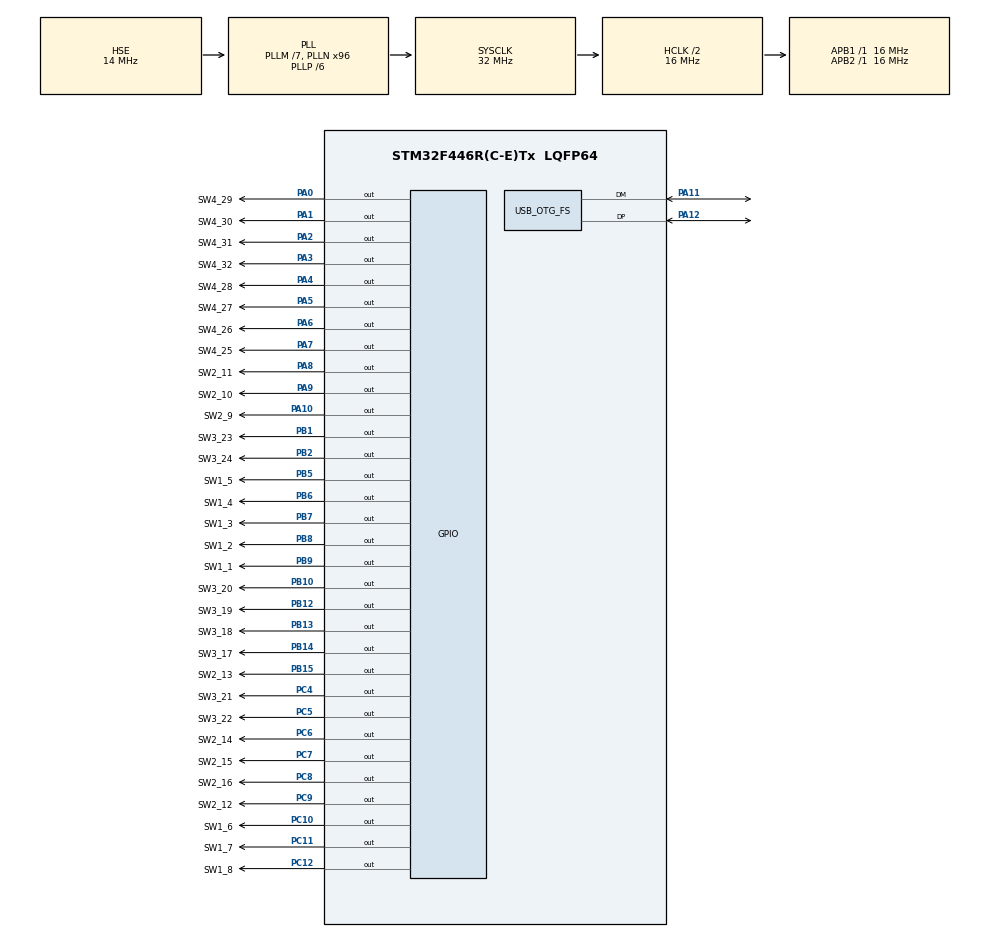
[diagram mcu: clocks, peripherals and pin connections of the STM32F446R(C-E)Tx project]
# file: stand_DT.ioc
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Mcu.Family=STM32F4
Mcu.Name=STM32F446R(C-E)Tx
Mcu.Package=LQFP64
NVIC.OTG_FS_IRQn=true\:0\:0\:false\:false\:true\:false\:true\:true
NVIC.PriorityGroup=NVIC_PRIORITYGROUP_4
PA0-WKUP.GPIO_Label=SW4_29
PA0-WKUP.Signal=GPIO_Output
PA1.GPIO_Label=SW4_30
PA1.Signal=GPIO_Output
PA10.GPIO_Label=SW2_9
PA10.Signal=GPIO_Output
PA11.Mode=Device_Only
PA11.Signal=USB_OTG_FS_DM
PA12.Mode=Device_Only
PA12.Signal=USB_OTG_FS_DP
PA13.Mode=JTAG_5_pins
PA13.Signal=SYS_JTMS-SWDIO
PA14.Mode=JTAG_5_pins
PA14.Signal=SYS_JTCK-SWCLK
PA15.Mode=JTAG_5_pins
PA15.Signal=SYS_JTDI
PA2.GPIO_Label=SW4_31
PA2.Signal=GPIO_Output
PA3.GPIO_Label=SW4_32
PA3.Signal=GPIO_Output
PA4.GPIO_Label=SW4_28
PA4.Signal=GPIO_Output
PA5.GPIO_Label=SW4_27
PA5.Signal=GPIO_Output
PA6.GPIO_Label=SW4_26
PA6.Signal=GPIO_Output
PA7.GPIO_Label=SW4_25
PA7.Signal=GPIO_Output
PA8.GPIO_Label=SW2_11
PA8.Signal=GPIO_Output
PA9.GPIO_Label=SW2_10
PA9.Signal=GPIO_Output
PB1.GPIO_Label=SW3_23
PB1.Signal=GPIO_Output
PB10.GPIO_Label=SW3_20
PB10.Signal=GPIO_Output
PB12.GPIO_Label=SW3_19
PB12.Signal=GPIO_Output
PB13.GPIO_Label=SW3_18
PB13.Signal=GPIO_Output
PB14.GPIO_Label=SW3_17
PB14.Signal=GPIO_Output
PB15.GPIO_Label=SW2_13
PB15.Signal=GPIO_Output
PB2.GPIO_Label=SW3_24
PB2.Signal=GPIO_Output
PB3.Mode=JTAG_5_pins
PB3.Signal=SYS_JTDO-SWO
PB4.Mode=JTAG_5_pins
PB4.Signal=SYS_JTRST
PB5.GPIO_Label=SW1_5
PB5.Signal=GPIO_Output
PB6.GPIO_Label=SW1_4
PB6.Signal=GPIO_Output
PB7.GPIO_Label=SW1_3
PB7.Signal=GPIO_Output
PB8.GPIO_Label=SW1_2
PB8.Signal=GPIO_Output
PB9.GPIO_Label=SW1_1
PB9.Signal=GPIO_Output
PC10.GPIO_Label=SW1_6
PC10.Signal=GPIO_Output
PC11.GPIO_Label=SW1_7
PC11.Signal=GPIO_Output
PC12.GPIO_Label=SW1_8
PC12.Signal=GPIO_Output
PC4.GPIO_Label=SW3_21
PC4.Signal=GPIO_Output
PC5.GPIO_Label=SW3_22
PC5.Signal=GPIO_Output
PC6.GPIO_Label=SW2_14
PC6.Signal=GPIO_Output
PC7.GPIO_Label=SW2_15
PC7.Signal=GPIO_Output
PC8.GPIO_Label=SW2_16
PC8.Signal=GPIO_Output
PC9.GPIO_Label=SW2_12
PC9.Signal=GPIO_Output
PH0-OSC_IN.Mode=HSE-External-Oscillator
PH0-OSC_IN.Signal=RCC_OSC_IN
PH1-OSC_OUT.Mode=HSE-External-Oscillator
PH1-OSC_OUT.Signal=RCC_OSC_OUT
ProjectManager.HeapSize=0x200
ProjectManager.StackSize=0x400
ProjectManager.TargetToolchain=STM32CubeIDE
RCC.AHBCLKDivider=RCC_SYSCLK_DIV2
RCC.AHBFreq_Value=16000000
RCC.APB1Freq_Value=16000000
RCC.APB1TimFreq_Value=16000000
RCC.APB2Freq_Value=16000000
RCC.APB2TimFreq_Value=16000000
RCC.CortexFreq_Value=16000000
RCC.HCLKFreq_Value=16000000
RCC.HSE_VALUE=14000000
RCC.PLLM=7
RCC.PLLN=96
RCC.PLLP=RCC_PLLP_DIV6
RCC.PLLQ=4
RCC.SYSCLKFreq_VALUE=32000000
RCC.SYSCLKSource=RCC_SYSCLKSOURCE_PLLCLK
RCC.USBFreq_Value=48000000
RCC.VCOOutputFreq_Value=192000000
USB_DEVICE.CLASS_NAME_FS=CDC
USB_DEVICE.VirtualMode-CDC_FS=Cdc
USB_DEVICE.VirtualModeFS=Cdc_FS
USB_OTG_FS.VirtualMode=Device_Only
VP_USB_DEVICE_VS_USB_DEVICE_CDC_FS.Mode=CDC_FS
board=custom

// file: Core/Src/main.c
/* USER CODE BEGIN Header */
/**
  ******************************************************************************
  * @file           : main.c
  * @brief          : Main program body
  ******************************************************************************
  * @attention
  *
  * Copyright (c) 2024 STMicroelectronics.
  * All rights reserved.
  *
  * This software is licensed under terms that can be found in the LICENSE file
  * in the root directory of this software component.
  * If no LICENSE file comes with this software, it is provided AS-IS.
  *
  ******************************************************************************
  */
/* USER CODE END Header */
#include "main.h"
#include "usb_device.h"
#include "gpio.h"

/* USER CODE BEGIN Includes */
#include "usbd_cdc_if.h"
/* USER CODE END Includes */

/* USER CODE BEGIN PV */
// ответ на запрос
uint8_t ID[2]={0xBB, 0x0A};

// ответ на команду включения, что мы не зависли и отвечаем
uint8_t ANTWORT[2]={0xEE, 0x0A};
uint8_t ANTWORT_DT[2]={0xCC, 0x0A};

// входной буфер
uint8_t RxData[1] = {0};

// масссив для формирования выхода
uint32_t out_state[32] = {0};

//struct point center = {0};
//union code n;
void Reset_all_outs(void);
/* USER CODE END PV */

void SystemClock_Config(void);

/* USER CODE BEGIN 0 */
// отключение адресных выходов для всех мультиплексоров
void Reset_all_outs(void)
{
	HAL_GPIO_WritePin(SW1_1_GPIO_Port, SW1_1_Pin, GPIO_PIN_RESET);
	HAL_GPIO_WritePin(SW1_2_GPIO_Port, SW1_2_Pin, GPIO_PIN_RESET);
	HAL_GPIO_WritePin(SW1_3_GPIO_Port, SW1_3_Pin, GPIO_PIN_RESET);
	HAL_GPIO_WritePin(SW1_4_GPIO_Port, SW1_4_Pin, GPIO_PIN_RESET);
	HAL_GPIO_WritePin(SW1_5_GPIO_Port, SW1_5_Pin, GPIO_PIN_RESET);
	HAL_GPIO_WritePin(SW1_6_GPIO_Port, SW1_6_Pin, GPIO_PIN_RESET);
	HAL_GPIO_WritePin(SW1_7_GPIO_Port, SW1_7_Pin, GPIO_PIN_RESET);
	HAL_GPIO_WritePin(SW1_8_GPIO_Port, SW1_8_Pin, GPIO_PIN_RESET);
	HAL_GPIO_WritePin(SW2_9_GPIO_Port, SW2_9_Pin, GPIO_PIN_RESET);
	HAL_GPIO_WritePin(SW2_10_GPIO_Port, SW2_10_Pin, GPIO_PIN_RESET);
	HAL_GPIO_WritePin(SW2_11_GPIO_Port, SW2_11_Pin, GPIO_PIN_RESET);
	HAL_GPIO_WritePin(SW2_12_GPIO_Port, SW2_12_Pin, GPIO_PIN_RESET);
	HAL_GPIO_WritePin(SW2_13_GPIO_Port, SW2_13_Pin, GPIO_PIN_RESET);
	HAL_GPIO_WritePin(SW2_14_GPIO_Port, SW2_14_Pin, GPIO_PIN_RESET);
	HAL_GPIO_WritePin(SW2_15_GPIO_Port, SW2_15_Pin, GPIO_PIN_RESET);
	HAL_GPIO_WritePin(SW2_16_GPIO_Port, SW2_16_Pin, GPIO_PIN_RESET);
	HAL_GPIO_WritePin(SW3_17_GPIO_Port, SW3_17_Pin, GPIO_PIN_RESET);
	HAL_GPIO_WritePin(SW3_18_GPIO_Port, SW3_18_Pin, GPIO_PIN_RESET);
	HAL_GPIO_WritePin(SW3_19_GPIO_Port, SW3_19_Pin, GPIO_PIN_RESET);
	HAL_GPIO_WritePin(SW3_20_GPIO_Port, SW3_20_Pin, GPIO_PIN_RESET);
	HAL_GPIO_WritePin(SW3_21_GPIO_Port, SW3_21_Pin, GPIO_PIN_RESET);
	HAL_GPIO_WritePin(SW3_22_GPIO_Port, SW3_22_Pin, GPIO_PIN_RESET);
	HAL_GPIO_WritePin(SW3_23_GPIO_Port, SW3_23_Pin, GPIO_PIN_RESET);
	HAL_GPIO_WritePin(SW3_24_GPIO_Port, SW3_24_Pin, GPIO_PIN_RESET);
	HAL_GPIO_WritePin(SW4_25_GPIO_Port, SW4_25_Pin, GPIO_PIN_RESET);
	HAL_GPIO_WritePin(SW4_26_GPIO_Port, SW4_26_Pin, GPIO_PIN_RESET);
	HAL_GPIO_WritePin(SW4_27_GPIO_Port, SW4_27_Pin, GPIO_PIN_RESET);
	HAL_GPIO_WritePin(SW4_28_GPIO_Port, SW4_28_Pin, GPIO_PIN_RESET);
	HAL_GPIO_WritePin(SW4_29_GPIO_Port, SW4_29_Pin, GPIO_PIN_RESET);
	HAL_GPIO_WritePin(SW4_30_GPIO_Port, SW4_30_Pin, GPIO_PIN_RESET);
	HAL_GPIO_WritePin(SW4_31_GPIO_Port, SW4_31_Pin, GPIO_PIN_RESET);
	HAL_GPIO_WritePin(SW4_32_GPIO_Port, SW4_32_Pin, GPIO_PIN_RESET);

	HAL_Delay(100);
};

/* USER CODE END 0 */

int main(void)
{

  /* MCU Configuration--------------------------------------------------------*/

  /* Reset of all peripherals, Initializes the Flash interface and the Systick. */
  HAL_Init();

  /* Configure the system clock */
  SystemClock_Config();

  /* Initialize all configured peripherals */
  MX_GPIO_Init();
  MX_USB_DEVICE_Init();
  /* USER CODE BEGIN 2 */
  Reset_all_outs();
  /* USER CODE END 2 */

  /* Infinite loop */
  while (1)
  {

    /* USER CODE BEGIN 3 */

  	  //обработка запроса
  	  CDC_Receive_FS(RxData, 1);

	  switch(RxData[0])
	  {
		  case 1:
			  Reset_all_outs();
	  			HAL_GPIO_WritePin(SW1_1_GPIO_Port, SW1_1_Pin, GPIO_PIN_SET);
	  			CDC_Transmit_FS(ANTWORT_DT, 2);
	  			RxData[0] = 0x00;
			break;
		  case 2:
			  Reset_all_outs();
	  			HAL_GPIO_WritePin(SW1_2_GPIO_Port, SW1_2_Pin, GPIO_PIN_SET);
	  			CDC_Transmit_FS(ANTWORT_DT, 2);
	  			RxData[0] = 0x00;
			break;
		  case 3:
			  Reset_all_outs();
	  			HAL_GPIO_WritePin(SW1_3_GPIO_Port, SW1_3_Pin, GPIO_PIN_SET);
	  			CDC_Transmit_FS(ANTWORT_DT, 2);
	  			RxData[0] = 0x00;
			break;
		  case 4:
			  Reset_all_outs();
	  			HAL_GPIO_WritePin(SW1_4_GPIO_Port, SW1_4_Pin, GPIO_PIN_SET);
	  			CDC_Transmit_FS(ANTWORT_DT, 2);
	  			RxData[0] = 0x00;
			break;
		  case 5:
			  Reset_all_outs();
	  			HAL_GPIO_WritePin(SW1_5_GPIO_Port, SW1_5_Pin, GPIO_PIN_SET);
	  			CDC_Transmit_FS(ANTWORT_DT, 2);
	  			RxData[0] = 0x00;
			break;
		  case 6:
			  Reset_all_outs();
	  			HAL_GPIO_WritePin(SW1_6_GPIO_Port, SW1_6_Pin, GPIO_PIN_SET);
	  			CDC_Transmit_FS(ANTWORT_DT, 2);
	  			RxData[0] = 0x00;
			break;
		  case 7:
			  Reset_all_outs();
	  			HAL_GPIO_WritePin(SW1_7_GPIO_Port, SW1_7_Pin, GPIO_PIN_SET);
	  			CDC_Transmit_FS(ANTWORT_DT, 2);
	  			RxData[0] = 0x00;
			break;
		  case 8:
			  Reset_all_outs();
	  			HAL_GPIO_WritePin(SW1_8_GPIO_Port, SW1_8_Pin, GPIO_PIN_SET);
	  			CDC_Transmit_FS(ANTWORT_DT, 2);
	  			RxData[0] = 0x00;
			break;
		  case 9:
			  Reset_all_outs();
	  			HAL_GPIO_WritePin(SW2_9_GPIO_Port, SW2_9_Pin, GPIO_PIN_SET);
	  			CDC_Transmit_FS(ANTWORT_DT, 2);
	  			RxData[0] = 0x00;
			break;
		  case 10:
			  Reset_all_outs();
	  			HAL_GPIO_WritePin(SW2_10_GPIO_Port, SW2_10_Pin, GPIO_PIN_SET);
	  			CDC_Transmit_FS(ANTWORT_DT, 2);
	  			RxData[0] = 0x00;
			break;
		  case 11:
			  Reset_all_outs();
	  			HAL_GPIO_WritePin(SW2_11_GPIO_Port, SW2_11_Pin, GPIO_PIN_SET);
	  			CDC_Transmit_FS(ANTWORT_DT, 2);
	  			RxData[0] = 0x00;
			break;
		  case 12:
			  Reset_all_outs();
	  			HAL_GPIO_WritePin(SW2_12_GPIO_Port, SW2_12_Pin, GPIO_PIN_SET);
	  			CDC_Transmit_FS(ANTWORT_DT, 2);
	  			RxData[0] = 0x00;
			break;
		  case 13:
			  Reset_all_outs();
	  			HAL_GPIO_WritePin(SW2_13_GPIO_Port, SW2_13_Pin, GPIO_PIN_SET);
	  			CDC_Transmit_FS(ANTWORT_DT, 2);
	  			RxData[0] = 0x00;
			break;
		  case 14:
			  Reset_all_outs();
	  			HAL_GPIO_WritePin(SW2_14_GPIO_Port, SW2_14_Pin, GPIO_PIN_SET);
	  			CDC_Transmit_FS(ANTWORT_DT, 2);
	  			RxData[0] = 0x00;
			break;
		  case 15:
			  Reset_all_outs();
	  			HAL_GPIO_WritePin(SW2_15_GPIO_Port, SW2_15_Pin, GPIO_PIN_SET);
	  			CDC_Transmit_FS(ANTWORT_DT, 2);
	  			RxData[0] = 0x00;
			break;
		  case 16:
			  Reset_all_outs();
	  			HAL_GPIO_WritePin(SW2_16_GPIO_Port, SW2_16_Pin, GPIO_PIN_SET);
	  			CDC_Transmit_FS(ANTWORT_DT, 2);
	  			RxData[0] = 0x00;
			break;
		  case 17:
			  Reset_all_outs();
	  			HAL_GPIO_WritePin(SW3_17_GPIO_Port, SW3_17_Pin, GPIO_PIN_SET);
	  			CDC_Transmit_FS(ANTWORT_DT, 2);
	  			RxData[0] = 0x00;
			break;
		  case 18:
			  Reset_all_outs();
	  			HAL_GPIO_WritePin(SW3_18_GPIO_Port, SW3_18_Pin, GPIO_PIN_SET);
	  			CDC_Transmit_FS(ANTWORT_DT, 2);
	  			RxData[0] = 0x00;
			break;
		  case 19:
			  Reset_all_outs();
	  			HAL_GPIO_WritePin(SW3_19_GPIO_Port, SW3_19_Pin, GPIO_PIN_SET);
	  			CDC_Transmit_FS(ANTWORT_DT, 2);
	  			RxData[0] = 0x00;
			break;
		  case 20:
			  Reset_all_outs();
	  			HAL_GPIO_WritePin(SW3_20_GPIO_Port, SW3_20_Pin, GPIO_PIN_SET);
	  			CDC_Transmit_FS(ANTWORT_DT, 2);
	  			RxData[0] = 0x00;
			break;
		  case 21:
			  Reset_all_outs();
	  			HAL_GPIO_WritePin(SW3_21_GPIO_Port, SW3_21_Pin, GPIO_PIN_SET);
	  			CDC_Transmit_FS(ANTWORT_DT, 2);
	  			RxData[0] = 0x00;
			break;
		  case 22:
			  Reset_all_outs();
	  			HAL_GPIO_WritePin(SW3_22_GPIO_Port, SW3_22_Pin, GPIO_PIN_SET);
	  			CDC_Transmit_FS(ANTWORT_DT, 2);
	  			RxData[0] = 0x00;
			break;
		  case 23:
			  Reset_all_outs();
	  			HAL_GPIO_WritePin(SW3_23_GPIO_Port, SW3_23_Pin, GPIO_PIN_SET);
	  			CDC_Transmit_FS(ANTWORT_DT, 2);
	  			RxData[0] = 0x00;
			break;
		  case 24:
			  Reset_all_outs();
	  			HAL_GPIO_WritePin(SW3_24_GPIO_Port, SW3_24_Pin, GPIO_PIN_SET);
	  			CDC_Transmit_FS(ANTWORT_DT, 2);
	  			RxData[0] = 0x00;
			break;
		  case 25:
			  Reset_all_outs();
	  			HAL_GPIO_WritePin(SW4_25_GPIO_Port, SW4_25_Pin, GPIO_PIN_SET);
	  			CDC_Transmit_FS(ANTWORT_DT, 2);
	  			RxData[0] = 0x00;
			break;
		  case 26:
			  Reset_all_outs();
	  			HAL_GPIO_WritePin(SW4_26_GPIO_Port, SW4_26_Pin, GPIO_PIN_SET);
	  			CDC_Transmit_FS(ANTWORT_DT, 2);
	  			RxData[0] = 0x00;
			break;
		  case 27:
			  Reset_all_outs();
	  			HAL_GPIO_WritePin(SW4_27_GPIO_Port, SW4_27_Pin, GPIO_PIN_SET);
	  			CDC_Transmit_FS(ANTWORT_DT, 2);
	  			RxData[0] = 0x00;
			break;
		  case 28:
			  Reset_all_outs();
	  			HAL_GPIO_WritePin(SW4_28_GPIO_Port, SW4_28_Pin, GPIO_PIN_SET);
	  			CDC_Transmit_FS(ANTWORT_DT, 2);
	  			RxData[0] = 0x00;
			break;
		  case 29:
			  Reset_all_outs();
	  			HAL_GPIO_WritePin(SW4_29_GPIO_Port, SW4_29_Pin, GPIO_PIN_SET);
	  			CDC_Transmit_FS(ANTWORT_DT, 2);
	  			RxData[0] = 0x00;
			break;
		  case 30:
			  Reset_all_outs();
	  			HAL_GPIO_WritePin(SW4_30_GPIO_Port, SW4_30_Pin, GPIO_PIN_SET);
	  			CDC_Transmit_FS(ANTWORT_DT, 2);
	  			RxData[0] = 0x00;
			break;
		  case 31:
			  Reset_all_outs();
	  			HAL_GPIO_WritePin(SW4_31_GPIO_Port, SW4_31_Pin, GPIO_PIN_SET);
	  			CDC_Transmit_FS(ANTWORT_DT, 2);
	  			RxData[0] = 0x00;
			break;
		  case 32:
			  Reset_all_outs();
	  			HAL_GPIO_WritePin(SW4_32_GPIO_Port, SW4_32_Pin, GPIO_PIN_SET);
	  			CDC_Transmit_FS(ANTWORT_DT, 2);
	  			RxData[0] = 0x00;
			break;

		case 170: //запрос опознания, отвечаем на это 0xBB
			CDC_Transmit_FS(ID, 2);
			RxData[0] = 0x00;
			break;
		case 0xFF: //команда полной остановки
			Reset_all_outs();
			CDC_Transmit_FS(ANTWORT, 2);
			RxData[0] = 0x00;
			break;
		default:
			;
			break;
	  }
  	  HAL_Delay(10);

  /*

  HAL_Delay(100);
  HAL_GPIO_TogglePin(E_U_MUX_GPIO_Port, E_U_MUX_Pin);
  CDC_Receive_FS(RxData,  (uint32_t)1);
  CDC_Transmit_FS(ANTWORT, 1);*/

  }
  /* USER CODE END 3 */
}

void SystemClock_Config(void)
{
  RCC_OscInitTypeDef RCC_OscInitStruct = {0};
  RCC_ClkInitTypeDef RCC_ClkInitStruct = {0};

  /** Configure the main internal regulator output voltage
  */
  __HAL_RCC_PWR_CLK_ENABLE();
  __HAL_PWR_VOLTAGESCALING_CONFIG(PWR_REGULATOR_VOLTAGE_SCALE3);

  /** Initializes the RCC Oscillators according to the specified parameters
  * in the RCC_OscInitTypeDef structure.
  */
  RCC_OscInitStruct.OscillatorType = RCC_OSCILLATORTYPE_HSE;
  RCC_OscInitStruct.HSEState = RCC_HSE_ON;
  RCC_OscInitStruct.PLL.PLLState = RCC_PLL_ON;
  RCC_OscInitStruct.PLL.PLLSource = RCC_PLLSOURCE_HSE;
  RCC_OscInitStruct.PLL.PLLM = 7;
  RCC_OscInitStruct.PLL.PLLN = 96;
  RCC_OscInitStruct.PLL.PLLP = RCC_PLLP_DIV6;
  RCC_OscInitStruct.PLL.PLLQ = 4;
  RCC_OscInitStruct.PLL.PLLR = 2;
  if (HAL_RCC_OscConfig(&RCC_OscInitStruct) != HAL_OK)
  {
    Error_Handler();
  }

  /** Initializes the CPU, AHB and APB buses clocks
  */
  RCC_ClkInitStruct.ClockType = RCC_CLOCKTYPE_HCLK|RCC_CLOCKTYPE_SYSCLK
                              |RCC_CLOCKTYPE_PCLK1|RCC_CLOCKTYPE_PCLK2;
  RCC_ClkInitStruct.SYSCLKSource = RCC_SYSCLKSOURCE_PLLCLK;
  RCC_ClkInitStruct.AHBCLKDivider = RCC_SYSCLK_DIV2;
  RCC_ClkInitStruct.APB1CLKDivider = RCC_HCLK_DIV1;
  RCC_ClkInitStruct.APB2CLKDivider = RCC_HCLK_DIV1;

  if (HAL_RCC_ClockConfig(&RCC_ClkInitStruct, FLASH_LATENCY_0) != HAL_OK)
  {
    Error_Handler();
  }
}

void Error_Handler(void)
{
  __disable_irq();
  while (1)
  {
  }
}
